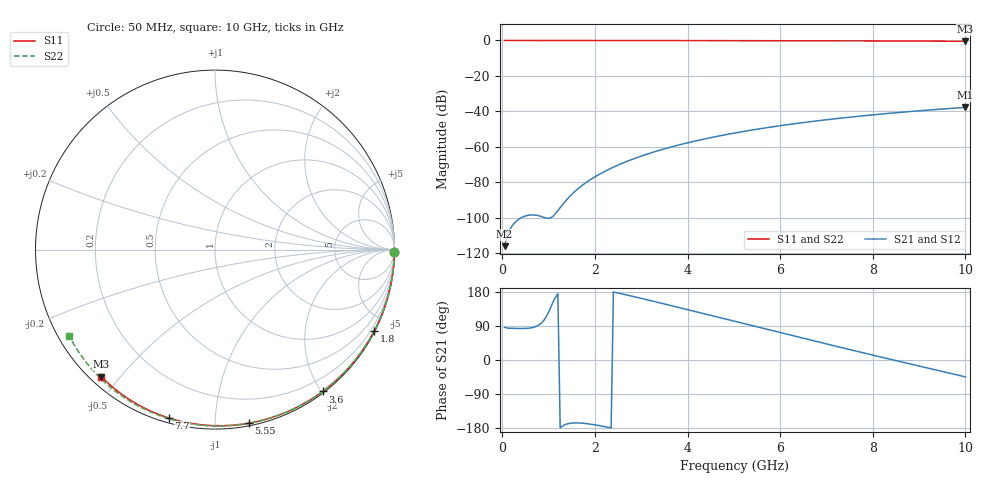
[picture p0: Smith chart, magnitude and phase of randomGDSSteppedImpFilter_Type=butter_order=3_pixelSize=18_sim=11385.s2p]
! freq	dB(S11)	phase(S11)	dB(S12)	phase(S12)
!  dB(S21)	phase(S21)	dB(S22)	phase(S22)
!S-par simulation data
#  GHz  S  DB  R 50
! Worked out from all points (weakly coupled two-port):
!   200 points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, 50 MHz to 10 GHz, reference 50 ohm
!   highest |S21| = -37.74 dB at 10 GHz (marker M1); lowest = -116.0 dB at 50 MHz (marker M2)
!   lowest |S11| = -0.4 dB at 10 GHz (marker M3), VSWR 38.95, Z = 1.54 - j22.3 ohm
!   |S11| at or under -10 dB: nowhere
!   |S22| runs from -0.5 to 0.0 dB; largest |S21 - S12| = 0
!   S11 on the Smith chart (normalised r, x): 50 MHz: open; 1.8 GHz: 0.04, -4.16; 3.6 GHz: 0.02, -2.01; 5.55 GHz: 0.02, -1.21; 7.7 GHz: 0.02, -0.76; 10 GHz: 0.03, -0.45
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0.05  -0.00 -0.8  -116.04 86.3  -116.04 86.3  -0.00 -0.9
0.45  -0.01 -6.9  -99.51 83.1  -99.51 83.1  -0.01 -7.8
0.9  -0.02 -13.6  -99.84 105.2  -99.84 105.2  -0.02 -15.4
1.3  -0.02 -19.6  -92.60 -174.1  -92.60 -174.1  -0.03 -22.2
1.75  -0.03 -26.3  -81.26 -167.0  -81.26 -167.0  -0.04 -29.7
1.8  -0.03 -27.0  -80.32 -167.6  -80.32 -167.6  -0.04 -30.5
1.85  -0.04 -27.8  -79.42 -168.4  -79.42 -168.4  -0.04 -31.4
2  -0.04 -30.0  -76.93 -171.1  -76.93 -171.1  -0.04 -33.8
2.15  -0.04 -32.2  -74.71 -174.4  -74.71 -174.4  -0.05 -36.3
2.5  -0.05 -37.2  -70.29 176.7  -70.29 176.7  -0.05 -42.0
2.9  -0.06 -43.0  -66.15 165.6  -66.15 165.6  -0.06 -48.5
3.4  -0.07 -50.0  -61.90 150.9  -61.90 150.9  -0.07 -56.4
3.6  -0.07 -52.8  -60.41 144.9  -60.41 144.9  -0.08 -59.6
4.3  -0.09 -62.4  -55.94 123.7  -55.94 123.7  -0.10 -70.3
5.05  -0.11 -72.4  -52.06 100.9  -52.06 100.9  -0.13 -81.5
5.55  -0.13 -78.9  -49.86 85.8  -49.86 85.8  -0.15 -88.7
6.1  -0.15 -85.9  -47.72 69.2  -47.72 69.2  -0.17 -96.6
6.7  -0.18 -93.3  -45.66 51.2  -45.66 51.2  -0.20 -104.9
7.7  -0.24 -105.4  -42.74 21.7  -42.74 21.7  -0.27 -118.6
8.35  -0.29 -113.0  -41.12 2.8  -41.12 2.8  -0.33 -127.3
9.2  -0.36 -122.8  -39.26 -21.7  -39.26 -21.7  -0.41 -138.6
10  -0.45 -131.8  -37.74 -44.5  -37.74 -44.5  -0.50 -149.4
